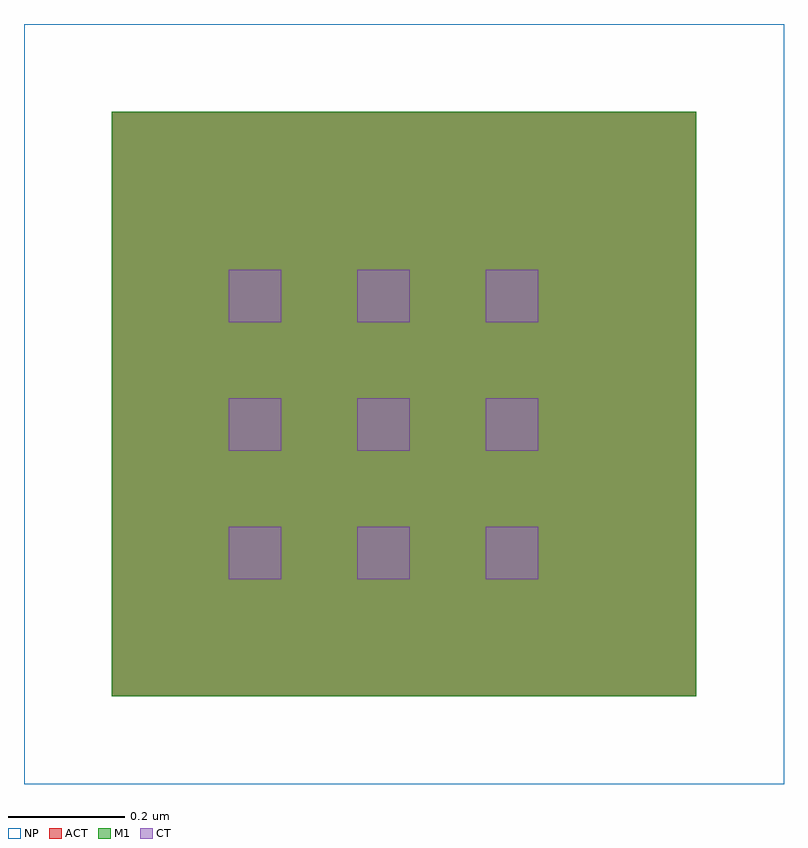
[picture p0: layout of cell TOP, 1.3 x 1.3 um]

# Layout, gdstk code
import gdstk
lib = gdstk.Library(unit=1e-6, precision=1e-09)
def R(c, l, rs):  # rectangles x0, y0, x1, y1
    for r in rs: c.add(gdstk.rectangle(r[:2], r[2:], *l))
def A(c, l, x, y, w, h, nx, ny, dx, dy):  # array of equal rectangles
    R(c, l, [(x+i*dx, y+j*dy, x+i*dx+w, y+j*dy+h) for i in range(nx) for j in range(ny)])
ACT = (2, 1)
NP = (52, 1)
CT = (72, 1)
M1 = (81, 1)

top = lib.new_cell('TOP')
R(top, ACT, [(0,0,1,1)])
R(top, NP, [(-0.15,-0.15,1.15,1.15)])
A(top, CT, 0.2, 0.2, 0.09, 0.09, 3, 3, 0.22, 0.22)
R(top, M1, [(0,0,1,1)])

lib.write_gds('TOP.gds')
